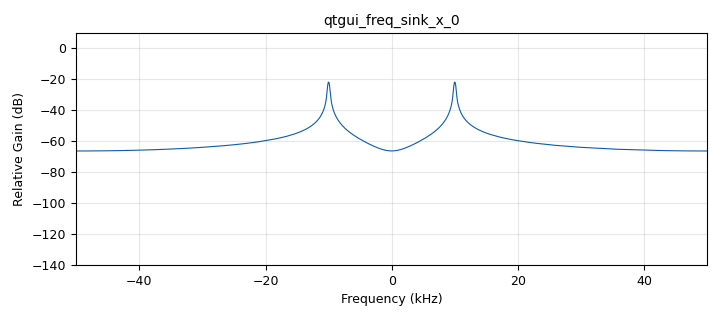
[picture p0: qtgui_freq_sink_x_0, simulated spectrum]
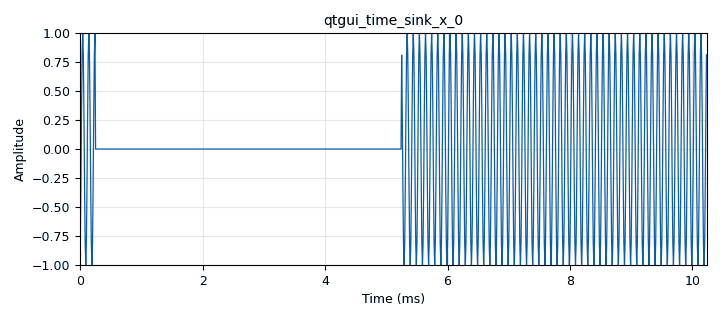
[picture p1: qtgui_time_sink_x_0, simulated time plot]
options:
  parameters:
    generate_options: qt_gui
    id: Transmisor_OOK
    output_language: python
    title: Not titled yet
  states: {}

blocks:
- name: samp_rate
  id: variable
  parameters:
    value: '100000'
  states: {}
- name: analog_sig_source_x_0
  id: analog_sig_source_x
  parameters:
    amp: '1'
    freq: '100'
    offset: '0'
    phase: '0'
    samp_rate: samp_rate
    type: float
    waveform: analog.GR_SQR_WAVE
  states: {}
- name: analog_sig_source_x_1
  id: analog_sig_source_x
  parameters:
    amp: '1'
    freq: '10000'
    offset: '0'
    phase: '0'
    samp_rate: samp_rate
    type: float
    waveform: analog.GR_COS_WAVE
  states: {}
- name: blocks_multiply_xx_0
  id: blocks_multiply_xx
  parameters:
    type: float
  states: {}
- name: blocks_throttle2_0
  id: blocks_throttle2
  parameters:
    samples_per_second: samp_rate
    type: float
  states: {}
- name: qtgui_freq_sink_x_0
  id: qtgui_freq_sink_x
  parameters:
    bw: samp_rate
    fc: '0'
    fftsize: '1024'
    type: float
  states: {}
- name: qtgui_time_sink_x_0
  id: qtgui_time_sink_x
  parameters:
    size: '1024'
    srate: samp_rate
    type: float
  states: {}

connections:
- [analog_sig_source_x_0, '0', blocks_multiply_xx_0, '0']
- [analog_sig_source_x_1, '0', blocks_multiply_xx_0, '1']
- [blocks_multiply_xx_0, '0', blocks_throttle2_0, '0']
- [blocks_throttle2_0, '0', qtgui_freq_sink_x_0, '0']
- [blocks_throttle2_0, '0', qtgui_time_sink_x_0, '0']

metadata:
  file_format: 1
  grc_version: 3.10.12.0
